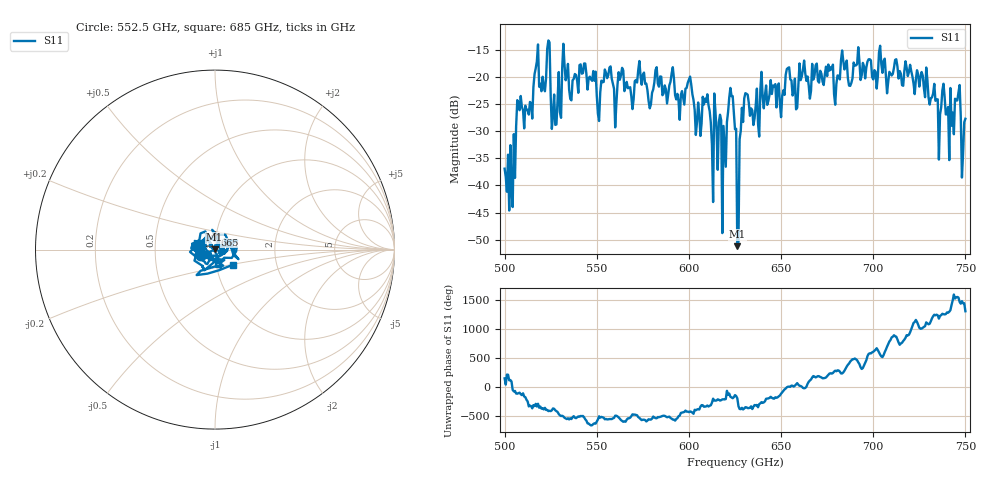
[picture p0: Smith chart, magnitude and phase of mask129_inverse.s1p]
!Created with skrf (http://scikit-rf.org).
# GHz S MA R 50.0
!freq magS11 angS11
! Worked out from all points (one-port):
!   401 points, 500 GHz to 750 GHz, reference 50 ohm
!   lowest |S11| = -51.2 dB at 626.2 GHz (marker M1), VSWR 1.01, Z = 49.7 + j0.069 ohm
!   |S11| at or under -10 dB: start of sweep to end of sweep
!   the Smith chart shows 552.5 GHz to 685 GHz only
!   S11 on the Smith chart (normalised r, x): 552.5 GHz: 0.84, -0.06; 665 GHz: 0.99, +0.17; 685 GHz: 1.20, -0.21
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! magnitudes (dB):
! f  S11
! 500 GHz  -36.9
! 503.1 GHz  -32.6
! 507.5 GHz  -24.8
! 513.8 GHz  -24.6
! 516.9 GHz  -18.4
! 520.6 GHz  -20.0
! 523.8 GHz  -13.3
! 526.9 GHz  -23.3
! 531.2 GHz  -18.3
! 552.5 GHz  -20.7
! 562.5 GHz  -20.5
! 593.8 GHz  -23.1
! 600 GHz  -20.5
! 605 GHz  -24.7
! 608.8 GHz  -24.0
! 619.4 GHz  -32.8
! 623.1 GHz  -23.6
! 625 GHz  -29.7
! 626.2 GHz  -51.2
! 631.2 GHz  -23.1
! 656.2 GHz  -23.4
! 665 GHz  -21.6
! 685 GHz  -17.7
! 687.5 GHz  -21.7
! 718.8 GHz  -19.8
! 742.5 GHz  -29.0
! 745.6 GHz  -24.3
! 750 GHz  -27.7
